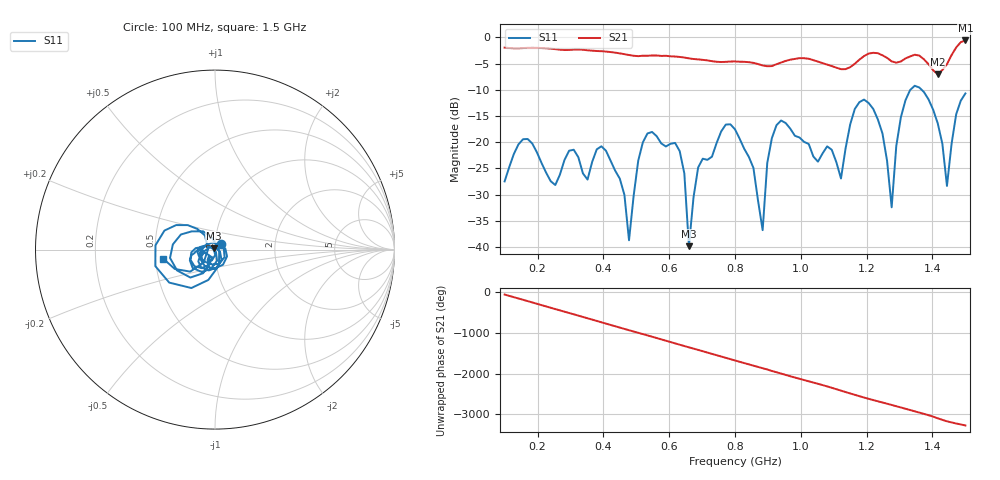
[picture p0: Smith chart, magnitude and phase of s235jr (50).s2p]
! NanoVNA-App
! Date: 2025-09-25 15:04:33
! Start: 100MHz Stop: 1,5GHz Points: 101
! S-Parameter data: F S11 S21 S12 S22
# Hz S RI R 50
!  Frequency  S11_Real  S11_Imag  S21_Real  S21_Imag  S12_Real  S12_Imag  S22_Real  S22_Imag
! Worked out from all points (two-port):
!   101 points, 100 MHz to 1.5 GHz, reference 50 ohm
!   highest |S21| = -0.59 dB at 1.5 GHz (marker M1); lowest = -7.0 dB at 1.416 GHz (marker M2)
!   |S21| within 3 dB of the highest: start of sweep to 600.7 MHz; 1.192 GHz to 1.253 GHz (61.09 MHz wide, 5 % of centre) (the widest 2 of 4)
!   lowest |S11| = -39.8 dB at 660 MHz (marker M3), VSWR 1.02, Z = 49.2 + j0.675 ohm
!   |S11| at or under -10 dB: start of sweep to 1.333 GHz; 1.367 GHz to end of sweep
!   S12 and S22 are empty: the file has one direction only
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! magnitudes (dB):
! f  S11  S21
! 100 MHz  -27.5  -2.0
! 156 MHz  -19.4  -2.0
! 338 MHz  -26.0  -2.4
! 408 MHz  -21.6  -2.7
! 478 MHz  -38.7  -3.4
! 520 MHz  -20.0  -3.5
! 576 MHz  -20.2  -3.5
! 632 MHz  -21.7  -3.7
! 660 MHz  -39.8  -4.0
! 688 MHz  -24.8  -4.2
! 800 MHz  -17.5  -4.6
! 884 MHz  -36.8  -5.4
! 926 MHz  -16.8  -5.1
! 1.038 GHz  -22.7  -4.3
! 1.122 GHz  -26.9  -6.1
! 1.192 GHz  -11.9  -3.6
! 1.248 GHz  -18.3  -3.4
! 1.276 GHz  -32.4  -4.6
! 1.332 GHz  -10.0  -3.6
! 1.416 GHz  -16.4  -7.0
! 1.444 GHz  -28.3  -5.1
! 1.5 GHz  -10.7  -0.6
